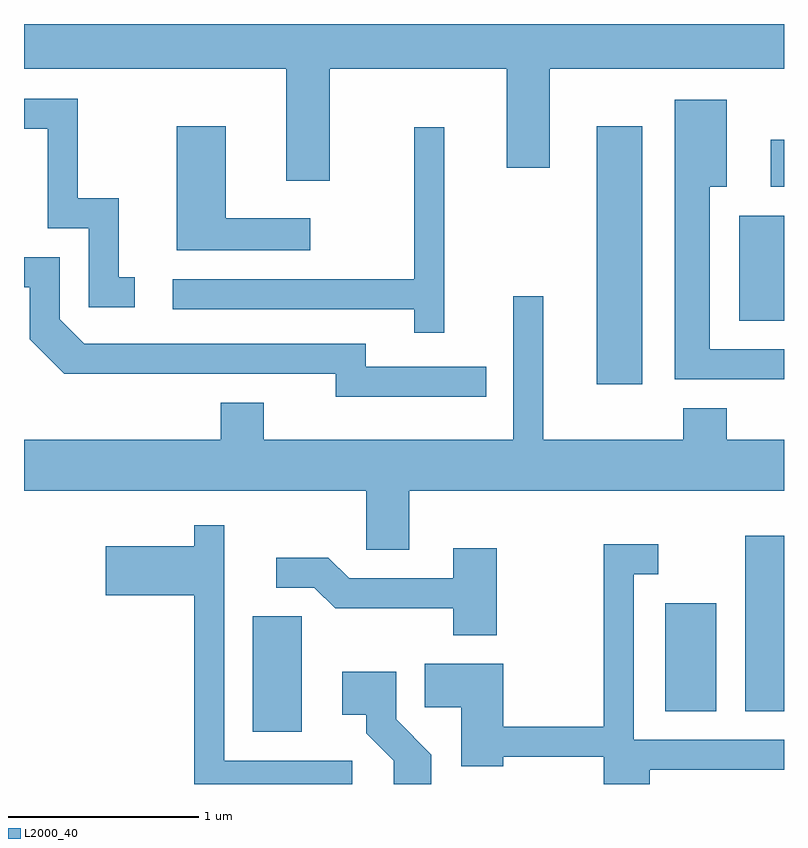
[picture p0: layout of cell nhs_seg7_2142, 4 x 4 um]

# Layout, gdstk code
import gdstk
lib = gdstk.Library(unit=1e-6, precision=1e-09)
def R(c, l, rs):  # rectangles x0, y0, x1, y1
    for r in rs: c.add(gdstk.rectangle(r[:2], r[2:], *l))
def P(c, l, *ps):  # polygons
    for p in ps: c.add(gdstk.Polygon(p, *l))
L2000_40 = (2000, 40)

nhs_seg7_2142 = lib.new_cell('nhs_seg7_2142')
R(nhs_seg7_2142, L2000_40, [(250.816,1788.526,251.074,1789.134), (252.986,1788.636,253.254,1789.204), (253.406,1788.636,253.611,1789.559), (252.626,1790.356,252.864,1791.714), (253.376,1790.691,253.611,1791.244), (253.541,1791.396,253.611,1791.644)])
P(nhs_seg7_2142, L2000_40, [(251.219,1792.016),(252.151,1792.016),(252.151,1791.496),(252.379,1791.496),(252.379,1792.016),(253.611,1792.016),(253.611,1792.252),(249.611,1792.252),(249.611,1792.016),(250.991,1792.016),(250.991,1791.426),(251.219,1791.426)],
  [(250.193,1790.919),(250.109,1790.919),(250.109,1791.334),(249.894,1791.334),(249.894,1791.859),(249.611,1791.859),(249.611,1791.701),(249.736,1791.701),(249.736,1791.176),(249.951,1791.176),(249.951,1790.761),(250.193,1790.761)],
  [(253.611,1790.539),(253.219,1790.539),(253.219,1791.396),(253.309,1791.396),(253.309,1791.854),(253.036,1791.854),(253.036,1790.381),(253.611,1790.381)],
  [(251.118,1791.229),(250.674,1791.229),(250.674,1791.714),(250.416,1791.714),(250.416,1791.061),(251.118,1791.061)],
  [(251.824,1791.708),(251.666,1791.708),(251.666,1790.909),(250.393,1790.909),(250.393,1790.751),(251.666,1790.751),(251.666,1790.628),(251.824,1790.628)],
  [(252.043,1790.449),(251.409,1790.449),(251.409,1790.569),(249.927,1790.569),(249.799,1790.697),(249.799,1791.024),(249.611,1791.024),(249.611,1790.866),(249.641,1790.866),(249.641,1790.594),(249.824,1790.411),(251.251,1790.411),(251.251,1790.291),(252.043,1790.291)],
  [(251.639,1789.796),(253.611,1789.796),(253.611,1790.064),(253.309,1790.064),(253.309,1790.229),(253.081,1790.229),(253.081,1790.064),(252.344,1790.064),(252.344,1790.818),(252.186,1790.818),(252.186,1790.064),(250.874,1790.064),(250.874,1790.259),(250.646,1790.259),(250.646,1790.064),(249.611,1790.064),(249.611,1789.796),(251.411,1789.796),(251.411,1789.486),(251.639,1789.486)],
  [(251.338,1788.374),(250.664,1788.374),(250.664,1789.613),(250.506,1789.613),(250.506,1789.504),(250.041,1789.504),(250.041,1789.246),(250.506,1789.246),(250.506,1788.252),(251.338,1788.252)],
  [(252.904,1788.326),(253.611,1788.326),(253.611,1788.484),(252.819,1788.484),(252.819,1789.356),(252.948,1789.356),(252.948,1789.514),(252.661,1789.514),(252.661,1788.554),(252.134,1788.554),(252.134,1788.884),(251.721,1788.884),(251.721,1788.656),(251.911,1788.656),(251.911,1788.346),(252.134,1788.346),(252.134,1788.396),(252.661,1788.396),(252.661,1788.252),(252.904,1788.252)],
  [(252.099,1789.494),(251.871,1789.494),(251.871,1789.334),(251.322,1789.334),(251.212,1789.444),(250.938,1789.444),(250.938,1789.286),(251.139,1789.286),(251.249,1789.176),(251.871,1789.176),(251.871,1789.036),(252.099,1789.036)],
  [(251.754,1788.407),(251.569,1788.592),(251.569,1788.844),(251.286,1788.844),(251.286,1788.616),(251.411,1788.616),(251.411,1788.519),(251.556,1788.374),(251.556,1788.252),(251.754,1788.252)])

lib.write_gds('nhs_seg7_2142.gds')
